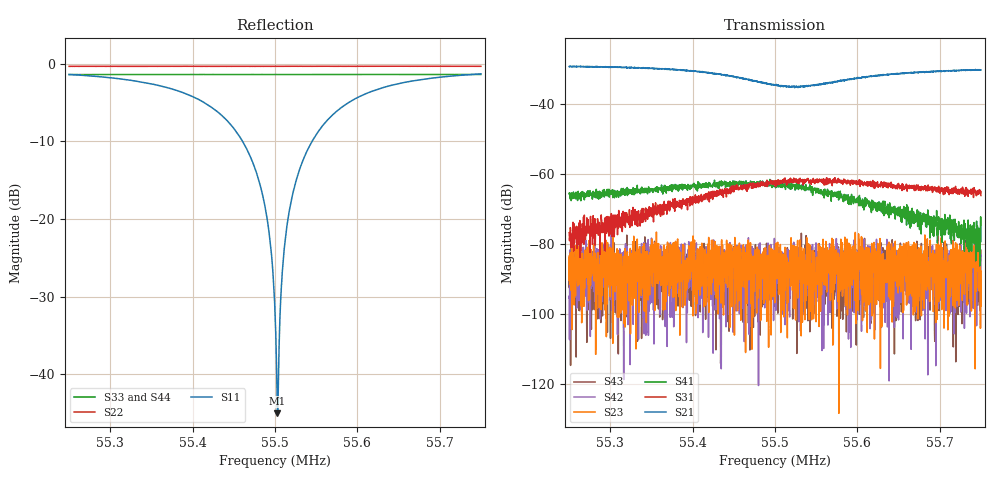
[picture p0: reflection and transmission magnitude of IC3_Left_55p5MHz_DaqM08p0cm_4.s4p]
#  HZ  S  DB  R  50.00
! Rohde & Schwarz Vector Network Analyzer
! Rohde-Schwarz,ZNB8-4Port,1311601044102961,2.82
! Created: UTC 2/13/2019, 9:46:43 AM
! freq[Hz]  db:S11  ang:S11  db:S12  ang:S12  db:S13  ang:S13  db:S14  ang:S14
!  db:S21  ang:S21  db:S22  ang:S22  db:S23  ang:S23  db:S24  ang:S24
!  db:S31  ang:S31  db:S32  ang:S32  db:S33  ang:S33  db:S34  ang:S34
!  db:S41  ang:S41  db:S42  ang:S42  db:S43  ang:S43  db:S44  ang:S44
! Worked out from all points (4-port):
!   2001 points, 55.25 MHz to 55.75 MHz, reference 50 ohm
!   strongest paths, dB at 55.25 MHz, 55.375 MHz, 55.5 MHz, 55.625 MHz, 55.75 MHz:
!     S21: -29.2, -30.0, -34.6, -31.7, -30.2
!     S31: -76.7, -68.1, -62.5, -63.2, -66.1
!     S41: -65.5, -65.0, -62.5, -69.6, -79.3
!     S23: -83.4, -84.9, -92.6, -90.6, -97.6
!     S42: -95.5, -88.0, -83.3, -83.1, -83.4
!     S43: -86.6, -87.3, -83.5, -88.5, -81.7
!   lowest |S11| = -45.0 dB at 55.503 MHz (marker M1), VSWR 1.01, Z = 49.6 - j0.401 ohm
!   |S11| at or under -10 dB: 55.46071 MHz to 55.54496 MHz (84.25 kHz wide, 0.152 % of centre)
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5.525e7  -1.38 -131.8  -29.17 71.2  -79.83 -8.8  -65.18 -148.2
         -29.25 71.4  -0.33 94.2  -83.40 29.0  -87.67 -3.1
         -76.74 10.9  -92.18 -180.0  -1.39 34.9  -92.72 -170.1
         -65.46 -145.0  -95.50 -75.0  -86.65 -56.3  -1.38 28.5
5.54535e7  -8.83 175.3  -32.33 52.0  -63.14 -27.0  -62.45 164.5
           -32.49 51.7  -0.33 90.5  -84.52 29.3  -79.16 -116.5
           -63.04 -31.7  -85.36 93.6  -1.38 32.4  -102.10 68.2
           -62.17 162.8  -80.37 25.3  -85.36 62.0  -1.37 26.0
5.5489e7  -19.04 159.2  -34.00 55.2  -63.17 -43.8  -63.40 147.1
          -34.19 56.4  -0.33 89.8  -87.79 34.5  -91.68 -130.8
          -62.28 -44.0  -97.53 48.2  -1.38 32.0  -82.76 41.2
          -62.31 144.9  -89.29 -67.4  -82.86 97.8  -1.37 25.6
5.5503e7  -45.00 -134.1  -34.72 60.0  -62.40 -53.1  -63.21 140.5
          -34.66 60.8  -0.33 89.5  -84.30 128.0  -87.61 90.9
          -61.88 -51.0  -84.47 82.1  -1.38 31.9  -96.32 100.4
          -63.48 139.6  -86.26 66.7  -83.39 -76.1  -1.37 25.4
5.551725e7  -18.99 -40.8  -35.02 65.2  -62.10 -57.8  -63.48 132.0
            -35.08 65.8  -0.33 89.3  -85.14 7.4  -81.56 -4.8
            -61.91 -58.5  -84.67 32.1  -1.38 31.7  -84.71 123.8
            -63.29 135.0  -86.02 102.5  -91.23 52.1  -1.37 25.2
5.555275e7  -8.69 -57.3  -34.31 79.8  -61.70 -72.9  -65.14 114.1
            -34.44 79.0  -0.32 88.6  -79.90 140.1  -82.18 -76.8
            -61.73 -77.2  -86.61 -123.1  -1.38 31.3  -90.49 -103.8
            -64.26 121.1  -96.44 39.1  -94.51 -135.6  -1.37 24.8
5.575e7  -1.30 -111.3  -30.13 75.3  -65.24 -123.4  -81.36 72.8
         -30.24 75.5  -0.32 85.1  -97.64 -72.6  -85.78 21.8
         -66.11 -127.2  -90.42 55.0  -1.37 28.9  -88.04 -47.8
         -79.29 72.5  -83.44 115.9  -81.71 -82.2  -1.37 22.4
